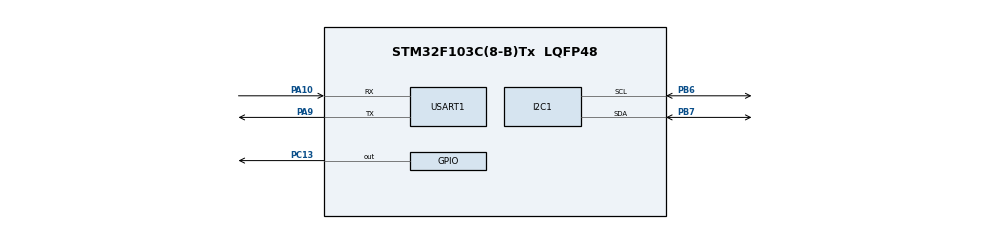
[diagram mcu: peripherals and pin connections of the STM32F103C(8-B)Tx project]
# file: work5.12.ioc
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Mcu.Family=STM32F1
Mcu.Name=STM32F103C(8-B)Tx
Mcu.Package=LQFP48
NVIC.PriorityGroup=NVIC_PRIORITYGROUP_4
NVIC.USART1_IRQn=true\:0\:0\:false\:false\:true\:true\:true\:true
PA10.Mode=Asynchronous
PA10.Signal=USART1_RX
PA13.Mode=Serial_Wire
PA13.Signal=SYS_JTMS-SWDIO
PA14.Mode=Serial_Wire
PA14.Signal=SYS_JTCK-SWCLK
PA9.Mode=Asynchronous
PA9.Signal=USART1_TX
PB6.Mode=I2C
PB6.Signal=I2C1_SCL
PB7.Mode=I2C
PB7.Signal=I2C1_SDA
PC13-TAMPER-RTC.GPIO_ModeDefaultOutputPP=GPIO_MODE_OUTPUT_OD
PC13-TAMPER-RTC.GPIO_PuPd=GPIO_NOPULL
PC13-TAMPER-RTC.PinState=GPIO_PIN_SET
PC13-TAMPER-RTC.Signal=GPIO_Output
ProjectManager.HeapSize=0x200
ProjectManager.StackSize=0x400
ProjectManager.TargetToolchain=MDK-ARM V5.32
RCC.APB1Freq_Value=8000000
RCC.APB2Freq_Value=8000000
USART1.VirtualMode=VM_ASYNC
board=custom

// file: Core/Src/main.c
/* USER CODE BEGIN Header */
/**
  ******************************************************************************
  * @file           : main.c
  * @brief          : Main program body
  ******************************************************************************
  * @attention
  *
  * Copyright (c) 2026 STMicroelectronics.
  * All rights reserved.
  *
  * This software is licensed under terms that can be found in the LICENSE file
  * in the root directory of this software component.
  * If no LICENSE file comes with this software, it is provided AS-IS.
  *
  ******************************************************************************
  */
/* USER CODE END Header */
#include "main.h"

/* USER CODE BEGIN Includes */
#include "OLED.h"
/* USER CODE END Includes */

I2C_HandleTypeDef hi2c1;

UART_HandleTypeDef huart1;

void SystemClock_Config(void);
static void MX_GPIO_Init(void);
static void MX_USART1_UART_Init(void);
static void MX_I2C1_Init(void);

/* USER CODE BEGIN 0 */
uint8_t a;
uint8_t b = '1';
uint8_t c = '0';
/* USER CODE END 0 */

int main(void)
{

  /* MCU Configuration--------------------------------------------------------*/

  /* Reset of all peripherals, Initializes the Flash interface and the Systick. */
  HAL_Init();

  /* Configure the system clock */
  SystemClock_Config();

  /* Initialize all configured peripherals */
  MX_GPIO_Init();
  MX_USART1_UART_Init();
  MX_I2C1_Init();
  /* USER CODE BEGIN 2 */
OLED_Init();
OLED_Clear();
OLED_ShowString(1,1,(uint8_t *)"OLED Ready",10);
  /* USER CODE END 2 */

  /* Infinite loop */
  /* USER CODE BEGIN WHILE */
  HAL_UART_Receive_IT(&huart1,&a,1);
  while (1)
  {
    /* USER CODE END WHILE */

  }
}

void SystemClock_Config(void)
{
  RCC_OscInitTypeDef RCC_OscInitStruct = {0};
  RCC_ClkInitTypeDef RCC_ClkInitStruct = {0};

  /** Initializes the RCC Oscillators according to the specified parameters
  * in the RCC_OscInitTypeDef structure.
  */
  RCC_OscInitStruct.OscillatorType = RCC_OSCILLATORTYPE_HSI;
  RCC_OscInitStruct.HSIState = RCC_HSI_ON;
  RCC_OscInitStruct.HSICalibrationValue = RCC_HSICALIBRATION_DEFAULT;
  RCC_OscInitStruct.PLL.PLLState = RCC_PLL_NONE;
  if (HAL_RCC_OscConfig(&RCC_OscInitStruct) != HAL_OK)
  {
    Error_Handler();
  }

  /** Initializes the CPU, AHB and APB buses clocks
  */
  RCC_ClkInitStruct.ClockType = RCC_CLOCKTYPE_HCLK|RCC_CLOCKTYPE_SYSCLK
                              |RCC_CLOCKTYPE_PCLK1|RCC_CLOCKTYPE_PCLK2;
  RCC_ClkInitStruct.SYSCLKSource = RCC_SYSCLKSOURCE_HSI;
  RCC_ClkInitStruct.AHBCLKDivider = RCC_SYSCLK_DIV1;
  RCC_ClkInitStruct.APB1CLKDivider = RCC_HCLK_DIV1;
  RCC_ClkInitStruct.APB2CLKDivider = RCC_HCLK_DIV1;

  if (HAL_RCC_ClockConfig(&RCC_ClkInitStruct, FLASH_LATENCY_0) != HAL_OK)
  {
    Error_Handler();
  }
}

static void MX_I2C1_Init(void)
{

  hi2c1.Instance = I2C1;
  hi2c1.Init.ClockSpeed = 100000;
  hi2c1.Init.DutyCycle = I2C_DUTYCYCLE_2;
  hi2c1.Init.OwnAddress1 = 0;
  hi2c1.Init.AddressingMode = I2C_ADDRESSINGMODE_7BIT;
  hi2c1.Init.DualAddressMode = I2C_DUALADDRESS_DISABLE;
  hi2c1.Init.OwnAddress2 = 0;
  hi2c1.Init.GeneralCallMode = I2C_GENERALCALL_DISABLE;
  hi2c1.Init.NoStretchMode = I2C_NOSTRETCH_DISABLE;
  if (HAL_I2C_Init(&hi2c1) != HAL_OK)
  {
    Error_Handler();
  }

}

static void MX_USART1_UART_Init(void)
{

  huart1.Instance = USART1;
  huart1.Init.BaudRate = 115200;
  huart1.Init.WordLength = UART_WORDLENGTH_8B;
  huart1.Init.StopBits = UART_STOPBITS_1;
  huart1.Init.Parity = UART_PARITY_NONE;
  huart1.Init.Mode = UART_MODE_TX_RX;
  huart1.Init.HwFlowCtl = UART_HWCONTROL_NONE;
  huart1.Init.OverSampling = UART_OVERSAMPLING_16;
  if (HAL_UART_Init(&huart1) != HAL_OK)
  {
    Error_Handler();
  }

}

static void MX_GPIO_Init(void)
{
  GPIO_InitTypeDef GPIO_InitStruct = {0};

  /* GPIO Ports Clock Enable */
  __HAL_RCC_GPIOC_CLK_ENABLE();
  __HAL_RCC_GPIOA_CLK_ENABLE();
  __HAL_RCC_GPIOB_CLK_ENABLE();

  /*Configure GPIO pin Output Level */
  HAL_GPIO_WritePin(GPIOC, GPIO_PIN_13, GPIO_PIN_SET);

  /*Configure GPIO pin : PC13 */
  GPIO_InitStruct.Pin = GPIO_PIN_13;
  GPIO_InitStruct.Mode = GPIO_MODE_OUTPUT_OD;
  GPIO_InitStruct.Pull = GPIO_NOPULL;
  GPIO_InitStruct.Speed = GPIO_SPEED_FREQ_LOW;
  HAL_GPIO_Init(GPIOC, &GPIO_InitStruct);

}

/* USER CODE BEGIN 4 */
void HAL_UART_RxCpltCallback(UART_HandleTypeDef *huart)
{
	if(huart == &huart1)
	{
		if(a == 'A')
		{
			HAL_GPIO_WritePin(GPIOC,GPIO_PIN_13,GPIO_PIN_RESET);
			HAL_UART_Transmit(&huart1,&b,1,HAL_MAX_DELAY);
			OLED_Clear();
			OLED_ShowString(1,1,(uint8_t *)"OLED Yes",8);
		}else if(a == 'B')
		{
			HAL_GPIO_WritePin(GPIOC,GPIO_PIN_13,GPIO_PIN_SET);
			HAL_UART_Transmit(&huart1,&c,1,HAL_MAX_DELAY);
			OLED_Clear();
			OLED_ShowString(1,1,(uint8_t *)"OLED No",7);

		}
		HAL_UART_Receive_IT(&huart1,&a,1 );
	}
}
/* USER CODE END 4 */

void Error_Handler(void)
{
  __disable_irq();
  while (1)
  {
  }
}
